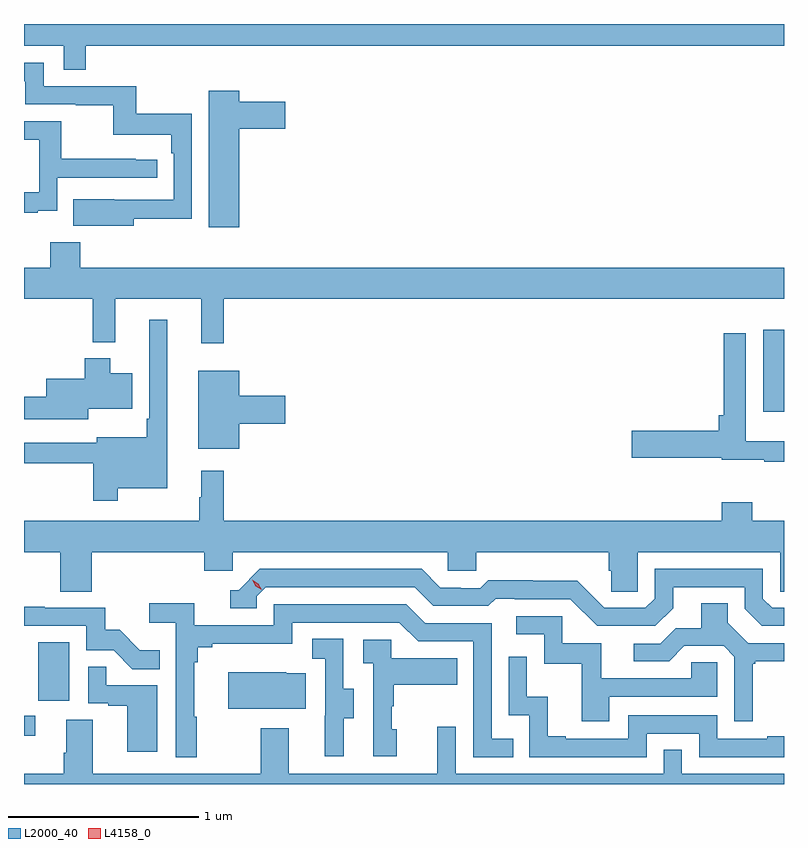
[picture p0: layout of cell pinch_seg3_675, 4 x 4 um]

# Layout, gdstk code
import gdstk
lib = gdstk.Library(unit=1e-6, precision=1e-09)
def R(c, l, rs):  # rectangles x0, y0, x1, y1
    for r in rs: c.add(gdstk.rectangle(r[:2], r[2:], *l))
def P(c, l, *ps):  # polygons
    for p in ps: c.add(gdstk.Polygon(p, *l))
L2000_40 = (2000, 40)
L4158_0 = (4158, 0)

pinch_seg3_675 = lib.new_cell('pinch_seg3_675')
R(pinch_seg3_675, L2000_40, [(1118.957,673.308,1119.016,673.413), (1119.032,673.494,1119.196,673.801), (1122.848,675.015,1122.957,675.445)])
P(pinch_seg3_675, L2000_40, [(1119.281,676.94),(1122.957,676.94),(1122.957,677.055),(1118.957,677.055),(1118.957,676.94),(1119.165,676.94),(1119.165,676.813),(1119.281,676.813)],
  [(1119.535,676.03),(1119.84,676.03),(1119.84,676.582),(1119.547,676.582),(1119.547,676.728),(1119.06,676.728),(1119.06,676.851),(1118.957,676.851),(1118.957,676.755),(1118.964,676.755),(1118.964,676.632),(1119.229,676.632),(1119.229,676.627),(1119.426,676.627),(1119.426,676.472),(1119.731,676.472),(1119.731,676.376),(1119.744,676.376),(1119.744,676.131),(1119.431,676.131),(1119.431,676.132),(1119.217,676.132),(1119.217,675.992),(1119.535,675.992)],
  [(1120.09,676.505),(1120.333,676.505),(1120.333,676.647),(1120.09,676.647),(1120.09,676.705),(1119.929,676.705),(1119.929,675.984),(1120.09,675.984)],
  [(1119.029,676.073),(1119.132,676.073),(1119.132,676.245),(1119.658,676.245),(1119.658,676.341),(1119.545,676.341),(1119.545,676.346),(1119.152,676.346),(1119.152,676.542),(1118.957,676.542),(1118.957,676.446),(1119.036,676.446),(1119.036,676.17),(1118.957,676.17),(1118.957,676.062),(1119.029,676.062)],
  [(1120.007,675.608),(1122.957,675.608),(1122.957,675.772),(1119.254,675.772),(1119.254,675.907),(1119.094,675.907),(1119.094,675.772),(1118.957,675.772),(1118.957,675.608),(1119.319,675.608),(1119.319,675.38),(1119.437,675.38),(1119.437,675.608),(1119.89,675.608),(1119.89,675.375),(1120.007,675.375)],
  [(1119.451,674.612),(1119.712,674.612),(1119.712,675.499),(1119.615,675.499),(1119.615,674.977),(1119.603,674.977),(1119.603,674.881),(1119.341,674.881),(1119.341,674.85),(1118.957,674.85),(1118.957,674.742),(1119.322,674.742),(1119.322,674.547),(1119.451,674.547)],
  [(1122.957,674.86),(1122.756,674.86),(1122.756,675.427),(1122.64,675.427),(1122.64,674.995),(1122.614,674.995),(1122.614,674.915),(1122.156,674.915),(1122.156,674.773),(1122.63,674.773),(1122.63,674.761),(1122.853,674.761),(1122.853,674.751),(1122.957,674.751)],
  [(1119.295,675.029),(1119.526,675.029),(1119.526,675.217),(1119.412,675.217),(1119.412,675.295),(1119.278,675.295),(1119.278,675.187),(1119.074,675.187),(1119.074,675.092),(1118.957,675.092),(1118.957,674.976),(1119.295,674.976)],
  [(1120.09,674.951),(1120.333,674.951),(1120.333,675.098),(1120.09,675.098),(1120.09,675.229),(1119.875,675.229),(1119.875,674.819),(1120.09,674.819)],
  [(1120.007,674.704),(1119.89,674.704),(1119.89,674.564),(1119.879,674.564),(1119.879,674.44),(1118.957,674.44),(1118.957,674.276),(1119.149,674.276),(1119.149,674.068),(1119.314,674.068),(1119.314,674.276),(1119.905,674.276),(1119.905,674.178),(1120.056,674.178),(1120.056,674.276),(1121.187,674.276),(1121.187,674.178),(1121.337,674.178),(1121.337,674.276),(1122.035,674.276),(1122.035,674.178),(1122.049,674.178),(1122.049,674.068),(1122.186,674.068),(1122.186,674.276),(1122.936,674.276),(1122.936,674.068),(1122.957,674.068),(1122.957,674.44),(1122.789,674.44),(1122.789,674.539),(1122.629,674.539),(1122.629,674.44),(1120.007,674.44)],
  [(1122.373,673.981),(1122.373,674.091),(1122.75,674.091),(1122.75,673.977),(1122.84,673.887),(1122.957,673.887),(1122.957,673.983),(1122.894,673.983),(1122.846,674.031),(1122.846,674.187),(1122.276,674.187),(1122.276,674.031),(1122.228,673.983),(1122.012,673.983),(1121.87,674.125),(1121.634,674.125),(1121.634,674.128),(1121.401,674.128),(1121.359,674.085),(1121.256,674.085),(1121.256,674.088),(1121.149,674.088),(1121.05,674.187),(1120.197,674.187),(1120.086,674.076),(1120.043,674.076),(1120.043,673.98),(1120.182,673.98),(1120.182,674.043),(1120.23,674.091),(1121.013,674.091),(1121.112,673.992),(1121.401,673.992),(1121.44,674.031),(1121.539,674.031),(1121.539,674.028),(1121.832,674.028),(1121.973,673.887),(1122.279,673.887)],
  [(1119.865,673.409),(1119.853,673.409),(1119.853,673.697),(1119.872,673.697),(1119.872,673.774),(1119.949,673.774),(1119.949,673.793),(1120.368,673.793),(1120.368,673.905),(1120.932,673.905),(1121.031,673.806),(1121.322,673.806),(1121.322,673.197),(1121.531,673.197),(1121.531,673.293),(1121.418,673.293),(1121.418,673.902),(1121.068,673.902),(1120.969,674.001),(1120.272,674.001),(1120.272,673.89),(1119.854,673.89),(1119.854,674.006),(1119.615,674.006),(1119.615,673.904),(1119.756,673.904),(1119.756,673.197),(1119.865,673.197)],
  [(1122.793,673.689),(1122.805,673.689),(1122.805,673.7),(1122.957,673.7),(1122.957,673.797),(1122.768,673.797),(1122.661,673.904),(1122.661,674.006),(1122.521,674.006),(1122.521,673.874),(1122.386,673.874),(1122.306,673.794),(1122.165,673.794),(1122.165,673.701),(1122.352,673.701),(1122.433,673.782),(1122.639,673.782),(1122.696,673.725),(1122.696,673.386),(1122.793,673.386)],
  [(1119.671,673.759),(1119.567,673.759),(1119.46,673.866),(1119.384,673.866),(1119.384,673.983),(1119.065,673.983),(1119.065,673.988),(1118.957,673.988),(1118.957,673.887),(1119.285,673.887),(1119.285,673.758),(1119.429,673.758),(1119.527,673.66),(1119.671,673.66)],
  [(1122.037,673.515),(1122.606,673.515),(1122.606,673.695),(1122.469,673.695),(1122.469,673.611),(1121.995,673.611),(1121.995,673.797),(1121.79,673.797),(1121.79,673.938),(1121.547,673.938),(1121.547,673.842),(1121.694,673.842),(1121.694,673.689),(1121.893,673.689),(1121.893,673.386),(1122.037,673.386)],
  [(1120.639,673.402),(1120.693,673.402),(1120.693,673.557),(1120.638,673.557),(1120.638,673.82),(1120.473,673.82),(1120.473,673.713),(1120.542,673.713),(1120.542,673.413),(1120.541,673.413),(1120.541,673.2),(1120.639,673.2)],
  [(1120.918,673.344),(1120.893,673.344),(1120.893,673.463),(1120.903,673.463),(1120.903,673.577),(1121.237,673.577),(1121.237,673.717),(1120.89,673.717),(1120.89,673.815),(1120.743,673.815),(1120.743,673.691),(1120.794,673.691),(1120.794,673.2),(1120.918,673.2)],
  [(1122.234,673.32),(1122.51,673.32),(1122.51,673.197),(1122.957,673.197),(1122.957,673.306),(1122.869,673.306),(1122.869,673.293),(1122.606,673.293),(1122.606,673.416),(1122.138,673.416),(1122.138,673.293),(1121.809,673.293),(1121.809,673.306),(1121.714,673.306),(1121.714,673.514),(1121.604,673.514),(1121.604,673.726),(1121.508,673.726),(1121.508,673.416),(1121.616,673.416),(1121.616,673.197),(1122.234,673.197)],
  [(1119.658,673.575),(1119.389,673.575),(1119.389,673.673),(1119.294,673.673),(1119.294,673.479),(1119.401,673.479),(1119.401,673.467),(1119.5,673.467),(1119.5,673.224),(1119.658,673.224)],
  [(1120.439,673.639),(1120.337,673.639),(1120.337,673.642),(1120.031,673.642),(1120.031,673.451),(1120.439,673.451)],
  [(1122.957,673.108),(1122.42,673.108),(1122.42,673.235),(1122.324,673.235),(1122.324,673.108),(1121.229,673.108),(1121.229,673.357),(1121.132,673.357),(1121.132,673.108),(1120.351,673.108),(1120.351,673.348),(1120.204,673.348),(1120.204,673.108),(1119.319,673.108),(1119.319,673.394),(1119.179,673.394),(1119.179,673.22),(1119.167,673.22),(1119.167,673.108),(1118.957,673.108),(1118.957,673.055),(1122.957,673.055)])
P(pinch_seg3_675, L4158_0, [(1120.207,674.078),(1120.176,674.097),(1120.159,674.129),(1120.159,674.129),(1120.159,674.129),(1120.19,674.11),(1120.207,674.078),(1120.207,674.078)])

lib.write_gds('pinch_seg3_675.gds')
